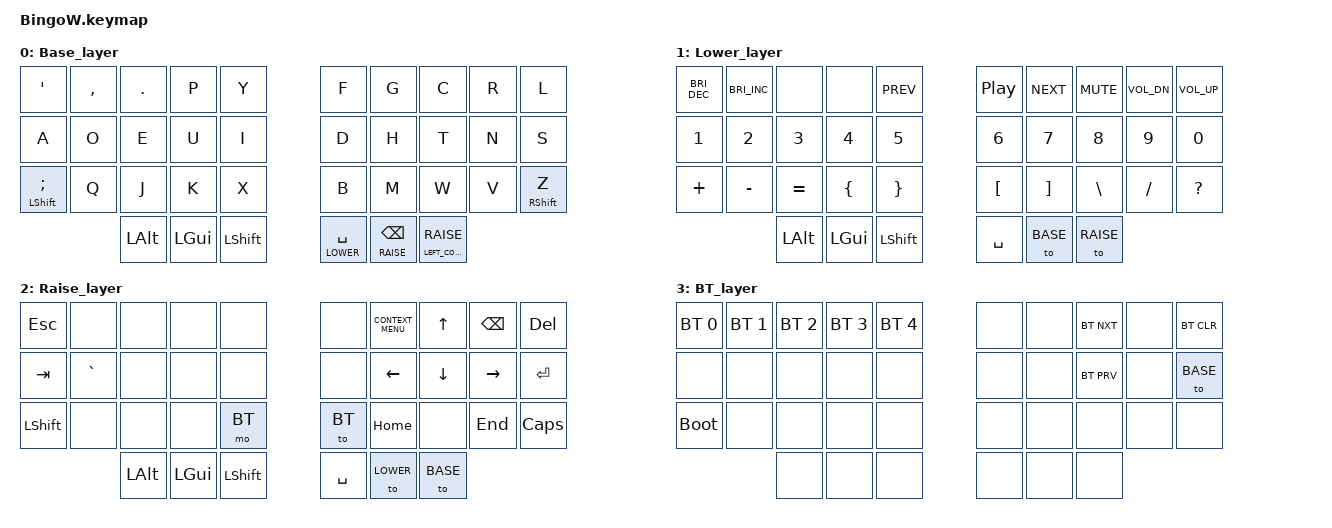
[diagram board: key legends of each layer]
#include <behaviors.dtsi>
#include <dt-bindings/zmk/bt.h>
#include <dt-bindings/zmk/reset.h>
#include <dt-bindings/zmk/keys.h>

#define BASE 0
#define LOWER 1
#define RAISE 2
#define BT 3

//&nice_view_spi {
//    update_interval_ms = <33>;
//    cs-gpios = <&pro_micro 1 GPIO_ACTIVE_HIGH>;
//};

/ {
  keymap {
    compatible = "zmk,keymap";

    Base_layer {
        // '        ,       .       p       y       f           g               c       r       r 
        // a        o       e       u       i       d           h               t       n       s
        // ;        q       j       k       x       b           m               w       v       z 
        //                  ALT     CMD     SHFT    SPC/lower   Backspace/Raise Raise 
        // 

      bindings = <
        &kp SINGLE_QUOTE              &kp COMMA       &kp DOT         &kp P           &kp Y           &kp F           &kp G               &kp C       &kp R       &kp L 
        &kp A                         &kp O           &kp E           &kp U           &kp I           &kp D           &kp H               &kp T       &kp N       &kp S 
        &mt LSHIFT SEMICOLON          &kp Q           &kp J           &kp K           &kp X           &kp B           &kp M               &kp W       &kp V       &mt RSHIFT Z 
                                                      &kp LEFT_ALT    &kp LEFT_GUI    &kp LEFT_SHIFT  &lt LOWER SPACE &lt RAISE BACKSPACE &lt LEFT_CONTROL RAISE 
      >;
    };

    Lower_layer {
        // 1        2       3       4       5       6       7       8       9       0 
        // !        @       #       $       %       ^       &       *       (       )
        // +        -       =       {       }       [       ]       \       /       ?
        //                  ALT     CMD     SHFT    SPC     Base    Raise 
        //

      bindings = <        
        &kp C_BRI_DEC       &kp C_BRI_INC   &none           &none           &kp C_PREV          &kp C_PLAY_PAUSE    &kp C_NEXT          &kp C_MUTE      &kp C_VOL_DN    &kp C_VOL_UP
        &kp NUMBER_1        &kp NUMBER_2    &kp NUMBER_3    &kp NUMBER_4    &kp NUMBER_5        &kp NUMBER_6        &kp NUMBER_7        &kp NUMBER_8    &kp NUMBER_9    &kp NUMBER_0 
        &kp PLUS            &kp MINUS       &kp EQUAL       &kp LEFT_BRACE  &kp RIGHT_BRACE     &kp LEFT_BRACKET    &kp RIGHT_BRACKET   &kp BACKSLASH   &kp SLASH       &kp QUESTION 
                                            &kp LEFT_ALT    &kp LEFT_GUI    &kp LEFT_SHIFT      &kp SPACE           &to BASE            &to RAISE 
      >;
    };

    Raise_layer {
        // ESC      /       /       /       /       /       /       up      BACKSPACE   DELETE
        // TAB      `       /       /       /       /       left    down    right       Return
        // SHIFT    /       /       /       /       BT      MEDIA   /       /           /
        //                  ALT     CMD     CAPS    SPC     Lower   Base 
        //

      bindings = <
        &kp ESCAPE      &none       &none           &none           &none           &none       &kp K_CONTEXT_MENU  &kp UP      &kp BACKSPACE   &kp DELETE 
        &kp TAB         &kp GRAVE   &none           &none           &none           &none       &kp LEFT            &kp DOWN    &kp RIGHT       &kp RETURN 
        &kp LEFT_SHIFT  &none       &none           &none           &mo BT          &to BT      &kp HOME            &none       &kp END         &kp CAPS
                                    &kp LEFT_ALT    &kp LEFT_GUI    &kp LEFT_SHIFT  &kp SPACE   &to LOWER           &to BASE 
      >;
    };

    BT_layer {
      bindings = <
        &bt BT_SEL 0    &bt BT_SEL 1    &bt BT_SEL 2    &bt BT_SEL 3    &bt BT_SEL 4    &none       &none   &bt BT_NXT  &none   &bt BT_CLR 
        &none           &none           &none           &none           &none           &none       &none   &bt BT_PRV  &none   &to BASE 
        &bootloader     &none           &none           &none           &none           &none       &none   &none       &none   &none 
                                        &none           &none           &none           &none       &none   &none 
      >;
    };
  };
};
